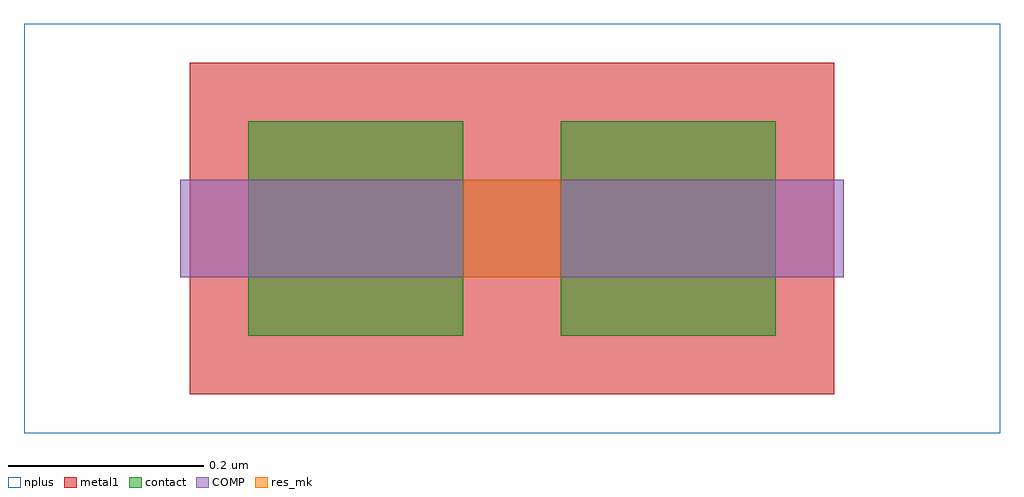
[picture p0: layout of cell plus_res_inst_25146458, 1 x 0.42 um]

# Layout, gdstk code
import gdstk
lib = gdstk.Library(unit=1e-6, precision=1e-09)
def R(c, l, rs):  # rectangles x0, y0, x1, y1
    for r in rs: c.add(gdstk.rectangle(r[:2], r[2:], *l))
COMP = (22, 0)
nplus = (32, 0)
contact = (33, 0)
metal1 = (34, 0)
res_mk = (110, 5)

compass_43289b1a = lib.new_cell('compass_43289b1a')
R(compass_43289b1a, res_mk, [(-0.05,-0.05,0.05,0.05)])

rectangle_43289b1a = lib.new_cell('rectangle_43289b1a')
rectangle_43289b1a.add(gdstk.Reference(compass_43289b1a, (0.05,0.05)))

compass_e4e30ed9 = lib.new_cell('compass_e4e30ed9')
R(compass_e4e30ed9, COMP, [(-0.34,-0.05,0.34,0.05)])

rectangle_e4e30ed9 = lib.new_cell('rectangle_e4e30ed9')
rectangle_e4e30ed9.add(gdstk.Reference(compass_e4e30ed9, (0.34,0.05)))

compass_f38dc993 = lib.new_cell('compass_f38dc993')
R(compass_f38dc993, contact, [(-0.11,-0.11,0.11,0.11)])

rectangle_f38dc993 = lib.new_cell('rectangle_f38dc993')
rectangle_f38dc993.add(gdstk.Reference(compass_f38dc993, (0.11,0.11)))

via_generator_9abf2eb8 = lib.new_cell('via_generator_9abf2eb8')
r = gdstk.Reference(rectangle_f38dc993, (-0.22,-0.06)); r.repetition = gdstk.Repetition(1, 1, v1=(0.5,0), v2=(0,0.5)); via_generator_9abf2eb8.add(r)

compass_02b66c81 = lib.new_cell('compass_02b66c81')
R(compass_02b66c81, metal1, [(-0.17,-0.17,0.17,0.17)])

rectangle_02b66c81 = lib.new_cell('rectangle_02b66c81')
rectangle_02b66c81.add(gdstk.Reference(compass_02b66c81, (0.17,0.17)))

via_stack_db035915 = lib.new_cell('via_stack_db035915')
via_stack_db035915.add(gdstk.Reference(via_generator_9abf2eb8, (0,0)))
via_stack_db035915.add(gdstk.Reference(rectangle_02b66c81, (-0.28,-0.12)))

compass_a99c2931 = lib.new_cell('compass_a99c2931')
R(compass_a99c2931, nplus, [(-0.5,-0.21,0.5,0.21)])

rectangle_a99c2931 = lib.new_cell('rectangle_a99c2931')
rectangle_a99c2931.add(gdstk.Reference(compass_a99c2931, (0.5,0.21)))

plus_res_inst_25146458 = lib.new_cell('plus_res_inst_25146458')
plus_res_inst_25146458.add(gdstk.Reference(rectangle_43289b1a, (0,0)))
plus_res_inst_25146458.add(gdstk.Reference(rectangle_e4e30ed9, (-0.29,0)))
r = gdstk.Reference(via_stack_db035915, (0,0)); r.repetition = gdstk.Repetition(2, 1, v1=(0.32,0), v2=(0,1)); plus_res_inst_25146458.add(r)
plus_res_inst_25146458.add(gdstk.Reference(rectangle_a99c2931, (-0.45,-0.16)))

lib.write_gds('plus_res_inst_25146458.gds')
